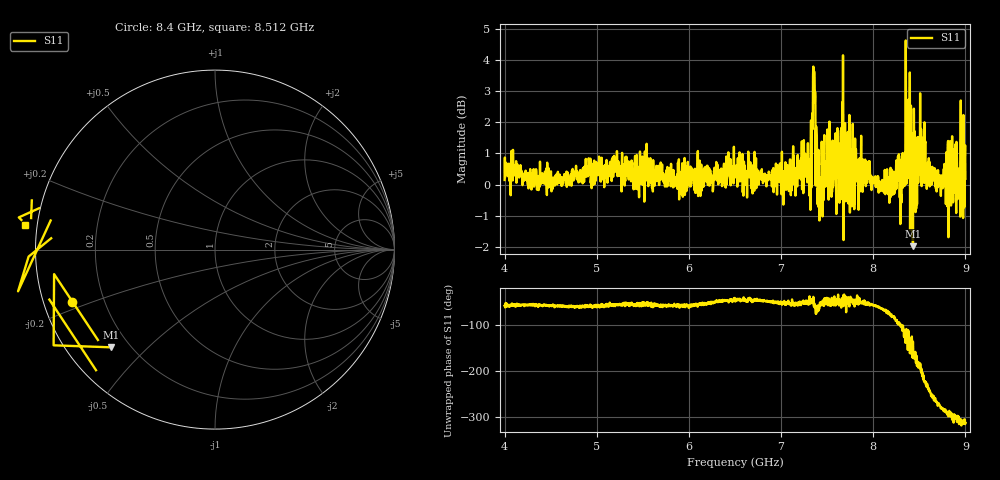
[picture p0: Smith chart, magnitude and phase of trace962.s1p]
! Created with skrf 1.8.0 (http://scikit-rf.org).
# Hz S RI R 50.0
!freq ReS11 ImS11
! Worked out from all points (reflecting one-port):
!   1601 points, 4 GHz to 9 GHz, reference 50 ohm
!   lowest |S11| = -2.0 dB at 8.431 GHz (marker M1), VSWR 8.82, Z = 6.54 - j19.5 ohm
!   phase of S11 starts at -58 deg and turns -256 deg over the sweep
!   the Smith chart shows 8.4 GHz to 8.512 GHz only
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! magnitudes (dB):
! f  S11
! 4 GHz  0.1
! 4.625 GHz  0.0
! 5.25 GHz  0.3
! 5.875 GHz  -0.1
! 6.5 GHz  0.4
! 7.125 GHz  0.8
! 7.303 GHz  0.7
! 7.356 GHz  2.7
! 7.369 GHz  3.0
! 7.412 GHz  -0.2
! 7.519 GHz  0.5
! 7.619 GHz  0.9
! 7.669 GHz  1.9
! 7.703 GHz  0.0
! 7.75 GHz  0.4
! 7.891 GHz  0.5
! 8.097 GHz  0.1
! 8.259 GHz  0.6
! 8.312 GHz  0.9
! 8.331 GHz  0.9
! 8.375 GHz  0.6
! 8.412 GHz  -0.3
! 8.431 GHz  -2.0
! 8.522 GHz  1.3
! 8.712 GHz  0.1
! 8.919 GHz  0.1
! 8.972 GHz  0.5
! 9 GHz  0.2
